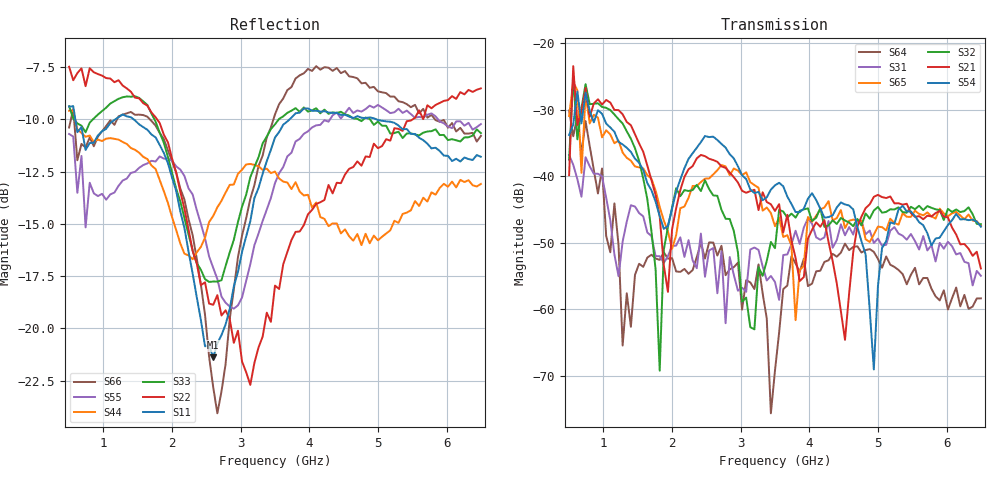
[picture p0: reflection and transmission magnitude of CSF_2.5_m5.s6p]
!Keysight Technologies,M9804A,MY58100912,A.14.10.03
!Date: Thursday, April 27, 2023 10:28:33
!Correction: S11(C  6-Port  )
!S12(C  6-Port  )
!S13(C  6-Port  )
!S14(C  6-Port  )
!S15(C  6-Port  )
!S16(C  6-Port  )
!S21(C  6-Port  )
!S22(C  6-Port  )
!S23(C  6-Port  )
!S24(C  6-Port  )
!S25(C  6-Port  )
!S26(C  6-Port  )
!S31(C  6-Port  )
!S32(C  6-Port  )
!S33(C  6-Port  )
!S34(C  6-Port  )
!S35(C  6-Port  )
!S36(C  6-Port  )
!S41(C  6-Port  )
!S42(C  6-Port  )
!S43(C  6-Port  )
!S44(C  6-Port  )
!S45(C  6-Port  )
!S46(C  6-Port  )
!S51(C  6-Port  )
!S52(C  6-Port  )
!S53(C  6-Port  )
!S54(C  6-Port  )
!S55(C  6-Port  )
!S56(C  6-Port  )
!S61(C  6-Port  )
!S62(C  6-Port  )
!S63(C  6-Port  )
!S64(C  6-Port  )
!S65(C  6-Port  )
!S66(C  6-Port  )
!S6P File: Measurement: :
# Hz S  RI  R 50
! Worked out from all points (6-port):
!   101 points, 500 MHz to 6.5 GHz, reference 50 ohm
!   strongest paths, dB at 500 MHz, 2 GHz, 3.5 GHz, 5 GHz, 6.5 GHz:
!     S54: -33.8, -44.9, -41.4, -56.5, -47.6
!     S21: -39.8, -48.0, -45.2, -42.8, -53.9
!     S32: -37.5, -44.7, -50.8, -44.6, -47.2
!     S65: -30.9, -51.0, -47.5, -47.6, -47.4
!     S31: -36.8, -50.5, -55.9, -49.4, -55.0
!     S64: -30.1, -52.3, -69.2, -52.5, -58.4
!   lowest |S11| = -21.4 dB at 2.6 GHz (marker M1), VSWR 1.19, Z = 42.4 + j2.16 ohm
!   |S11| at or under -10 dB: 590.3 MHz to 1.173 GHz (583 MHz wide, 66.1 % of centre); 1.441 GHz to 3.713 GHz (2.272 GHz wide, 88.2 % of centre); 4.977 GHz to end of sweep
